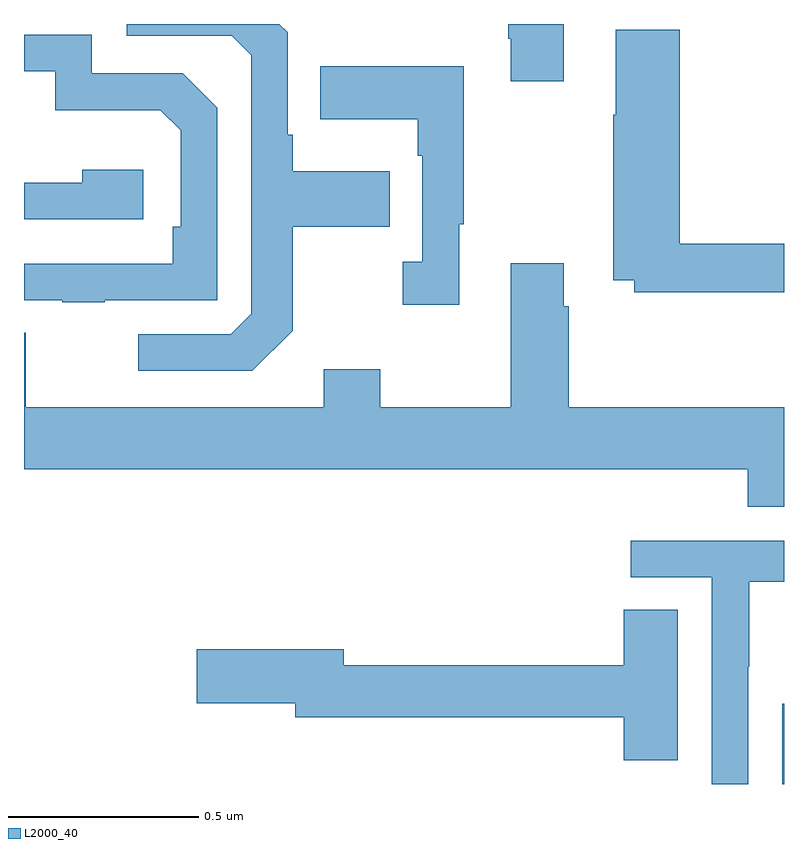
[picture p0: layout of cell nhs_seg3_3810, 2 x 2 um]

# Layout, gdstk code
import gdstk
lib = gdstk.Library(unit=1e-6, precision=1e-09)
def R(c, l, rs):  # rectangles x0, y0, x1, y1
    for r in rs: c.add(gdstk.rectangle(r[:2], r[2:], *l))
def P(c, l, *ps):  # polygons
    for p in ps: c.add(gdstk.Polygon(p, *l))
L2000_40 = (2000, 40)

nhs_seg3_3810 = lib.new_cell('nhs_seg3_3810')
R(nhs_seg3_3810, L2000_40, [(159.995,721.4,160,721.611)])
P(nhs_seg3_3810, L2000_40, [(159.421,723.4),(159.274,723.4),(159.274,723.361),(159.281,723.361),(159.281,723.249),(159.421,723.249)],
  [(158.707,722.593),(158.707,722.866),(158.963,722.866),(158.963,723.013),(158.707,723.013),(158.707,723.109),(158.694,723.109),(158.694,723.378),(158.672,723.4),(158.271,723.4),(158.271,723.369),(158.547,723.369),(158.598,723.318),(158.598,722.637),(158.544,722.583),(158.301,722.583),(158.301,722.487),(158.601,722.487)],
  [(160,722.822),(159.725,722.822),(159.725,723.385),(159.557,723.385),(159.557,723.161),(159.55,723.161),(159.55,722.726),(159.606,722.726),(159.606,722.694),(160,722.694)],
  [(158.213,722.673),(158.508,722.673),(158.508,723.18),(158.418,723.27),(158.178,723.27),(158.178,723.372),(158,723.372),(158,723.276),(158.082,723.276),(158.082,723.173),(158.359,723.173),(158.412,723.12),(158.412,722.866),(158.392,722.866),(158.392,722.769),(158,722.769),(158,722.673),(158.101,722.673),(158.101,722.668),(158.213,722.668)],
  [(159.145,722.873),(159.157,722.873),(159.157,723.289),(158.779,723.289),(158.779,723.149),(159.036,723.149),(159.036,723.053),(159.048,723.053),(159.048,722.774),(158.997,722.774),(158.997,722.661),(159.145,722.661)],
  [(158.314,723.016),(158.153,723.016),(158.153,722.982),(158,722.982),(158,722.886),(158.314,722.886)],
  [(160,722.392),(159.434,722.392),(159.434,722.657),(159.421,722.657),(159.421,722.77),(159.281,722.77),(159.281,722.392),(158.937,722.392),(158.937,722.491),(158.789,722.491),(158.789,722.392),(158.005,722.392),(158.005,722.587),(158,722.587),(158,722.228),(159.905,722.228),(159.905,722.129),(160,722.129)],
  [(159.906,721.708),(159.909,721.708),(159.909,721.932),(160,721.932),(160,722.04),(159.597,722.04),(159.597,721.944),(159.81,721.944),(159.81,721.4),(159.906,721.4)],
  [(159.721,721.859),(159.578,721.859),(159.578,721.712),(158.842,721.712),(158.842,721.755),(158.454,721.755),(158.454,721.613),(158.714,721.613),(158.714,721.576),(159.578,721.576),(159.578,721.462),(159.721,721.462)])

lib.write_gds('nhs_seg3_3810.gds')
